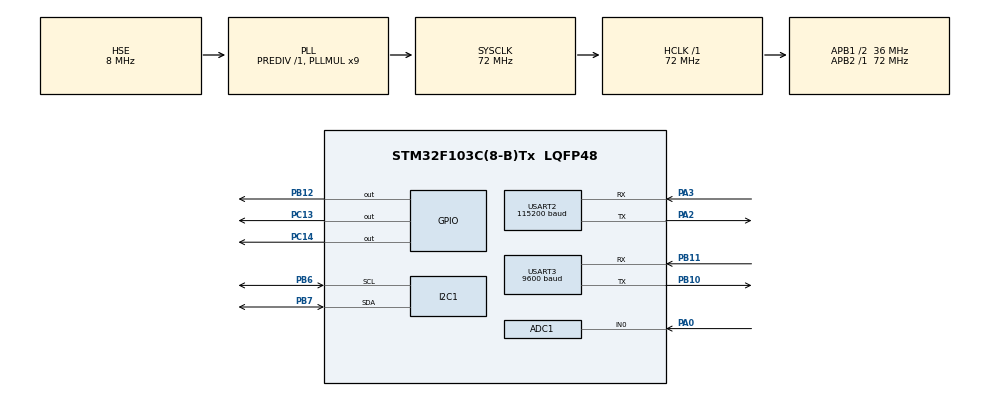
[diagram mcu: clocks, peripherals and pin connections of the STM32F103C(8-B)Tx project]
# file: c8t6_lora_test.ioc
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ADC1.Channel-0\#ChannelRegularConversion=ADC_CHANNEL_0
ADC1.ContinuousConvMode=ENABLE
ADC1.DataAlign=ADC_DATAALIGN_RIGHT
ADC1.DiscontinuousConvMode=DISABLE
ADC1.EnableAnalogWatchDog=false
ADC1.EnableRegularConversion=ENABLE
ADC1.ExternalTrigConv=ADC_SOFTWARE_START
ADC1.InjNumberOfConversion=0
ADC1.NbrOfConversion=1
ADC1.NbrOfConversionFlag=1
ADC1.Rank-0\#ChannelRegularConversion=1
ADC1.SamplingTime-0\#ChannelRegularConversion=ADC_SAMPLETIME_239CYCLES_5
ADC1.ScanConvMode=ADC_SCAN_DISABLE
ADC1.master=1
Dma.ADC1.0.Direction=DMA_PERIPH_TO_MEMORY
Dma.ADC1.0.Instance=DMA1_Channel1
Dma.ADC1.0.MemDataAlignment=DMA_MDATAALIGN_HALFWORD
Dma.ADC1.0.MemInc=DMA_MINC_ENABLE
Dma.ADC1.0.Mode=DMA_CIRCULAR
Dma.ADC1.0.PeriphDataAlignment=DMA_PDATAALIGN_HALFWORD
Dma.ADC1.0.PeriphInc=DMA_PINC_DISABLE
Dma.ADC1.0.Priority=DMA_PRIORITY_LOW
Dma.Request0=ADC1
I2C1.DutyCycle=I2C_DUTYCYCLE_16_9
I2C1.I2C_Mode=I2C_Fast
Mcu.Family=STM32F1
Mcu.Name=STM32F103C(8-B)Tx
Mcu.Package=LQFP48
NVIC.DMA1_Channel1_IRQn=true\:0\:0\:false\:false\:true\:false
NVIC.PriorityGroup=NVIC_PRIORITYGROUP_4
NVIC.TIM2_IRQn=true\:0\:0\:false\:false\:true\:true
NVIC.TIM3_IRQn=true\:0\:0\:false\:false\:true\:true
NVIC.USART2_IRQn=true\:0\:0\:false\:true\:true\:2\:true
NVIC.USART3_IRQn=true\:0\:0\:false\:true\:true\:1\:true
PA0-WKUP.Signal=ADCx_IN0
PA2.Mode=Asynchronous
PA2.Signal=USART2_TX
PA3.Mode=Asynchronous
PA3.Signal=USART2_RX
PB10.Mode=Asynchronous
PB10.Signal=USART3_TX
PB11.Mode=Asynchronous
PB11.Signal=USART3_RX
PB12.Signal=GPIO_Output
PB6.Mode=I2C
PB6.Signal=I2C1_SCL
PB7.Mode=I2C
PB7.Signal=I2C1_SDA
PC13-TAMPER-RTC.Signal=GPIO_Output
PC14-OSC32_IN.Signal=GPIO_Output
PD0-OSC_IN.Mode=HSE-External-Oscillator
PD0-OSC_IN.Signal=RCC_OSC_IN
PD1-OSC_OUT.Mode=HSE-External-Oscillator
PD1-OSC_OUT.Signal=RCC_OSC_OUT
ProjectManager.HeapSize=0x200
ProjectManager.StackSize=0x400
ProjectManager.TargetToolchain=TrueSTUDIO
RCC.ADCPresc=RCC_ADCPCLK2_DIV6
RCC.AHBFreq_Value=72000000
RCC.APB1CLKDivider=RCC_HCLK_DIV2
RCC.APB1Freq_Value=36000000
RCC.APB1TimFreq_Value=72000000
RCC.APB2Freq_Value=72000000
RCC.APB2TimFreq_Value=72000000
RCC.HCLKFreq_Value=72000000
RCC.PLLMUL=RCC_PLL_MUL9
RCC.PLLSourceVirtual=RCC_PLLSOURCE_HSE
RCC.SYSCLKFreq_VALUE=72000000
RCC.SYSCLKSource=RCC_SYSCLKSOURCE_PLLCLK
RCC.USBFreq_Value=72000000
SH.ADCx_IN0.0=ADC1_IN0,IN0
TIM2.Period=9999
TIM2.Prescaler=7199
TIM3.Period=4999
TIM3.Prescaler=7199
USART2.BaudRate=115200
USART2.VirtualMode=VM_ASYNC
USART3.BaudRate=9600
USART3.VirtualMode=VM_ASYNC
VP_ADC1_Vref_Input.Mode=IN-Vrefint
VP_SYS_VS_ND.Mode=No_Debug
VP_TIM2_VS_ClockSourceINT.Mode=Internal
VP_TIM3_VS_ClockSourceINT.Mode=Internal
board=c8t6_lora_test

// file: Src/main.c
/**
  ******************************************************************************
  * File Name          : main.c
  * Description        : Main program body
  ******************************************************************************
  ** This notice applies to any and all portions of this file
  * that are not between comment pairs USER CODE BEGIN and
  * USER CODE END. Other portions of this file, whether
  * inserted by the user or by software development tools
  * are owned by their respective copyright owners.
  *
  * COPYRIGHT(c) 2017 STMicroelectronics
  *
  * Redistribution and use in source and binary forms, with or without modification,
  * are permitted provided that the following conditions are met:
  *   1. Redistributions of source code must retain the above copyright notice,
  *      this list of conditions and the following disclaimer.
  *   2. Redistributions in binary form must reproduce the above copyright notice,
  *      this list of conditions and the following disclaimer in the documentation
  *      and/or other materials provided with the distribution.
  *   3. Neither the name of STMicroelectronics nor the names of its contributors
  *      may be used to endorse or promote products derived from this software
  *      without specific prior written permission.
  *
  * THIS SOFTWARE IS PROVIDED BY THE COPYRIGHT HOLDERS AND CONTRIBUTORS "AS IS"
  * AND ANY EXPRESS OR IMPLIED WARRANTIES, INCLUDING, BUT NOT LIMITED TO, THE
  * IMPLIED WARRANTIES OF MERCHANTABILITY AND FITNESS FOR A PARTICULAR PURPOSE ARE
  * DISCLAIMED. IN NO EVENT SHALL THE COPYRIGHT HOLDER OR CONTRIBUTORS BE LIABLE
  * FOR ANY DIRECT, INDIRECT, INCIDENTAL, SPECIAL, EXEMPLARY, OR CONSEQUENTIAL
  * DAMAGES (INCLUDING, BUT NOT LIMITED TO, PROCUREMENT OF SUBSTITUTE GOODS OR
  * SERVICES; LOSS OF USE, DATA, OR PROFITS; OR BUSINESS INTERRUPTION) HOWEVER
  * CAUSED AND ON ANY THEORY OF LIABILITY, WHETHER IN CONTRACT, STRICT LIABILITY,
  * OR TORT (INCLUDING NEGLIGENCE OR OTHERWISE) ARISING IN ANY WAY OUT OF THE USE
  * OF THIS SOFTWARE, EVEN IF ADVISED OF THE POSSIBILITY OF SUCH DAMAGE.
  *
  ******************************************************************************
  */
#include "main.h"
#include "stm32f1xx_hal.h"

/* USER CODE BEGIN Includes */
#include "userDelay.h"
#include "htu21d_i2c.h"

#include <string.h>
/* USER CODE END Includes */

ADC_HandleTypeDef hadc1;
DMA_HandleTypeDef hdma_adc1;

I2C_HandleTypeDef hi2c1;

TIM_HandleTypeDef htim2;
TIM_HandleTypeDef htim3;

UART_HandleTypeDef huart2;
UART_HandleTypeDef huart3;

/* USER CODE BEGIN PV */
/* Private variables ---------------------------------------------------------*/
volatile uint8_t	count = 0;
volatile uint8_t 	Rx_Data2[3];     // usart2 receive data
volatile uint8_t 	Rx_Data3[3];     // usart2 receive data
volatile uint32_t 	ADC_Data;
volatile uint8_t 	i2cTxData;    // i2c transmit data
volatile uint8_t	i2cRxData[3];    // i2c receive data
		 char		uadc[50];

/* USER CODE END PV */

void SystemClock_Config(void);
static void MX_GPIO_Init(void);
static void MX_DMA_Init(void);
static void MX_ADC1_Init(void);
static void MX_USART2_UART_Init(void);
static void MX_USART3_UART_Init(void);
static void MX_I2C1_Init(void);
static void MX_TIM2_Init(void);
static void MX_TIM3_Init(void);
static void MX_NVIC_Init(void);

/* USER CODE BEGIN PFP */
/* Private function prototypes -----------------------------------------------*/
void HAL_UART_RxCpltCallback(UART_HandleTypeDef *huart);
void HAL_TIM_PeriodElapsedCallback(TIM_HandleTypeDef *htim);

/* USER CODE END PFP */

/* USER CODE BEGIN 0 */
void HAL_UART_RxCpltCallback(UART_HandleTypeDef *huart)
{
	if(huart->Instance==USART2){
//		HAL_UART_Transmit(&huart2,(uint8_t *)&Rx_Data2, 1,1000);
		HAL_UART_Receive_IT(&huart2,(uint8_t *)&Rx_Data2, 1);
	}
	else if(huart->Instance==USART3){
//		HAL_UART_Transmit(&huart2,(uint8_t *)&Rx_Data3, 1,1000);
		HAL_UART_Receive_IT(&huart3,(uint8_t *)&Rx_Data3, 1);
	}
}

void HAL_TIM_PeriodElapsedCallback(TIM_HandleTypeDef *htim)
{
	if(htim->Instance==TIM2) {       // 1 sec interrupt
		HAL_GPIO_TogglePin(GPIOB, GPIO_PIN_12);
	}
	else if(htim->Instance==TIM3) {  // 0.5 sec interrupt
		HAL_GPIO_TogglePin(GPIOC, GPIO_PIN_13);
		if(count++==5)
		{
			count = 0;
			i2cTxData = (uint8_t)0xe3;

			while(HAL_I2C_Master_Transmit(&hi2c1,(uint16_t)HTDU21D_ADDRESS,(uint8_t *)&i2cTxData,1,1000)!=HAL_OK);
			delay_ms(50);
			while(HAL_I2C_Master_Receive (&hi2c1,(uint16_t)HTDU21D_ADDRESS,(uint8_t *)i2cRxData,6,1000)!=HAL_OK);
			double temp = -46.85 + 0.002681 * ((i2cRxData[0]<<8)|i2cRxData[1]);

			i2cTxData = (uint8_t)0xe5;
			while(HAL_I2C_Master_Transmit(&hi2c1,(uint16_t)HTDU21D_ADDRESS,(uint8_t *)&i2cTxData,1,1000)!=HAL_OK);
			delay_ms(16);
			while(HAL_I2C_Master_Receive (&hi2c1,(uint16_t)HTDU21D_ADDRESS,(uint8_t *)i2cRxData,3,1000)!=HAL_OK);

			double humi = -6.0 + 0.001907 * (((i2cRxData[0]<<8)|i2cRxData[1])^0x02);
		    sprintf(uadc,"!%8.2lf!%8.2lf , %6lu : %7.3f %%\r\n",temp,humi,ADC_Data,ADC_Data*0.02441406);
			HAL_UART_Transmit(&huart2,(uint8_t *)uadc, strlen(uadc),1000);
		}

	}
}

/* USER CODE END 0 */

int main(void)
{

  /* MCU Configuration----------------------------------------------------------*/

  /* Reset of all peripherals, Initializes the Flash interface and the Systick. */
  HAL_Init();

  /* Configure the system clock */
  SystemClock_Config();

  /* Initialize all configured peripherals */
  MX_GPIO_Init();
  MX_DMA_Init();
  MX_ADC1_Init();
  MX_USART2_UART_Init();
  MX_USART3_UART_Init();
  MX_I2C1_Init();
  MX_TIM2_Init();
  MX_TIM3_Init();

  /* Initialize interrupts */
  MX_NVIC_Init();

  /* USER CODE BEGIN 2 */
  HAL_Delay(3000);

  while(HAL_UART_Receive_IT(&huart2, (uint8_t *)Rx_Data2, 1)!=HAL_OK);
  while(HAL_UART_Receive_IT(&huart3, (uint8_t *)Rx_Data3, 1)!=HAL_OK);

  HAL_ADC_Start_DMA(&hadc1,(uint32_t *)&ADC_Data,1);

  while(HAL_TIM_Base_Start_IT(&htim2)!=HAL_OK);
  while(HAL_TIM_Base_Start_IT(&htim3)!=HAL_OK);

  HAL_UART_Transmit(&huart2,(uint8_t *)"Test!!!", 7,1000);

  /* USER CODE END 2 */

  /* Infinite loop */
  while (1)
  {

  /* USER CODE BEGIN 3 */
	    //sprintf(uadc,"%6lu : %7.3f %%\r\n",ADC_Data,ADC_Data*0.02441406);
		//HAL_UART_Transmit(&huart2,(uint8_t *)uadc, strlen(uadc),1000);
		//HAL_UART_Transmit(&huart2,(uint8_t *)"Test!!!", 7,1000);
		//HAL_Delay(1000);

  }
  /* USER CODE END 3 */

}

/** System Clock Configuration
*/
void SystemClock_Config(void)
{

  RCC_OscInitTypeDef RCC_OscInitStruct;
  RCC_ClkInitTypeDef RCC_ClkInitStruct;
  RCC_PeriphCLKInitTypeDef PeriphClkInit;

    /**Initializes the CPU, AHB and APB busses clocks
    */
  RCC_OscInitStruct.OscillatorType = RCC_OSCILLATORTYPE_HSE;
  RCC_OscInitStruct.HSEState = RCC_HSE_ON;
  RCC_OscInitStruct.HSEPredivValue = RCC_HSE_PREDIV_DIV1;
  RCC_OscInitStruct.HSIState = RCC_HSI_ON;
  RCC_OscInitStruct.PLL.PLLState = RCC_PLL_ON;
  RCC_OscInitStruct.PLL.PLLSource = RCC_PLLSOURCE_HSE;
  RCC_OscInitStruct.PLL.PLLMUL = RCC_PLL_MUL9;
  if (HAL_RCC_OscConfig(&RCC_OscInitStruct) != HAL_OK)
  {
    _Error_Handler(__FILE__, __LINE__);
  }

    /**Initializes the CPU, AHB and APB busses clocks
    */
  RCC_ClkInitStruct.ClockType = RCC_CLOCKTYPE_HCLK|RCC_CLOCKTYPE_SYSCLK
                              |RCC_CLOCKTYPE_PCLK1|RCC_CLOCKTYPE_PCLK2;
  RCC_ClkInitStruct.SYSCLKSource = RCC_SYSCLKSOURCE_PLLCLK;
  RCC_ClkInitStruct.AHBCLKDivider = RCC_SYSCLK_DIV1;
  RCC_ClkInitStruct.APB1CLKDivider = RCC_HCLK_DIV2;
  RCC_ClkInitStruct.APB2CLKDivider = RCC_HCLK_DIV1;

  if (HAL_RCC_ClockConfig(&RCC_ClkInitStruct, FLASH_LATENCY_2) != HAL_OK)
  {
    _Error_Handler(__FILE__, __LINE__);
  }

  PeriphClkInit.PeriphClockSelection = RCC_PERIPHCLK_ADC;
  PeriphClkInit.AdcClockSelection = RCC_ADCPCLK2_DIV6;
  if (HAL_RCCEx_PeriphCLKConfig(&PeriphClkInit) != HAL_OK)
  {
    _Error_Handler(__FILE__, __LINE__);
  }

    /**Configure the Systick interrupt time
    */
  HAL_SYSTICK_Config(HAL_RCC_GetHCLKFreq()/1000);

    /**Configure the Systick
    */
  HAL_SYSTICK_CLKSourceConfig(SYSTICK_CLKSOURCE_HCLK);

  /* SysTick_IRQn interrupt configuration */
  HAL_NVIC_SetPriority(SysTick_IRQn, 0, 0);
}

/** NVIC Configuration
*/
static void MX_NVIC_Init(void)
{
  /* USART3_IRQn interrupt configuration */
  HAL_NVIC_SetPriority(USART3_IRQn, 0, 0);
  HAL_NVIC_EnableIRQ(USART3_IRQn);
  /* USART2_IRQn interrupt configuration */
  HAL_NVIC_SetPriority(USART2_IRQn, 0, 0);
  HAL_NVIC_EnableIRQ(USART2_IRQn);
}

/* ADC1 init function */
static void MX_ADC1_Init(void)
{

  ADC_ChannelConfTypeDef sConfig;

    /**Common config
    */
  hadc1.Instance = ADC1;
  hadc1.Init.ScanConvMode = ADC_SCAN_DISABLE;
  hadc1.Init.ContinuousConvMode = ENABLE;
  hadc1.Init.DiscontinuousConvMode = DISABLE;
  hadc1.Init.ExternalTrigConv = ADC_SOFTWARE_START;
  hadc1.Init.DataAlign = ADC_DATAALIGN_RIGHT;
  hadc1.Init.NbrOfConversion = 1;
  if (HAL_ADC_Init(&hadc1) != HAL_OK)
  {
    _Error_Handler(__FILE__, __LINE__);
  }

    /**Configure Regular Channel
    */
  sConfig.Channel = ADC_CHANNEL_0;
  sConfig.Rank = 1;
  sConfig.SamplingTime = ADC_SAMPLETIME_239CYCLES_5;
  if (HAL_ADC_ConfigChannel(&hadc1, &sConfig) != HAL_OK)
  {
    _Error_Handler(__FILE__, __LINE__);
  }

}

/* I2C1 init function */
static void MX_I2C1_Init(void)
{

  hi2c1.Instance = I2C1;
  hi2c1.Init.ClockSpeed = 400000;
  hi2c1.Init.DutyCycle = I2C_DUTYCYCLE_16_9;
  hi2c1.Init.OwnAddress1 = 0;
  hi2c1.Init.AddressingMode = I2C_ADDRESSINGMODE_7BIT;
  hi2c1.Init.DualAddressMode = I2C_DUALADDRESS_DISABLE;
  hi2c1.Init.OwnAddress2 = 0;
  hi2c1.Init.GeneralCallMode = I2C_GENERALCALL_DISABLE;
  hi2c1.Init.NoStretchMode = I2C_NOSTRETCH_DISABLE;
  if (HAL_I2C_Init(&hi2c1) != HAL_OK)
  {
    _Error_Handler(__FILE__, __LINE__);
  }

}

/* TIM2 init function */
static void MX_TIM2_Init(void)
{

  TIM_ClockConfigTypeDef sClockSourceConfig;
  TIM_MasterConfigTypeDef sMasterConfig;

  htim2.Instance = TIM2;
  htim2.Init.Prescaler = 7199;
  htim2.Init.CounterMode = TIM_COUNTERMODE_UP;
  htim2.Init.Period = 9999;
  htim2.Init.ClockDivision = TIM_CLOCKDIVISION_DIV1;
  htim2.Init.AutoReloadPreload = TIM_AUTORELOAD_PRELOAD_DISABLE;
  if (HAL_TIM_Base_Init(&htim2) != HAL_OK)
  {
    _Error_Handler(__FILE__, __LINE__);
  }

  sClockSourceConfig.ClockSource = TIM_CLOCKSOURCE_INTERNAL;
  if (HAL_TIM_ConfigClockSource(&htim2, &sClockSourceConfig) != HAL_OK)
  {
    _Error_Handler(__FILE__, __LINE__);
  }

  sMasterConfig.MasterOutputTrigger = TIM_TRGO_RESET;
  sMasterConfig.MasterSlaveMode = TIM_MASTERSLAVEMODE_DISABLE;
  if (HAL_TIMEx_MasterConfigSynchronization(&htim2, &sMasterConfig) != HAL_OK)
  {
    _Error_Handler(__FILE__, __LINE__);
  }

}

/* TIM3 init function */
static void MX_TIM3_Init(void)
{

  TIM_ClockConfigTypeDef sClockSourceConfig;
  TIM_MasterConfigTypeDef sMasterConfig;

  htim3.Instance = TIM3;
  htim3.Init.Prescaler = 7199;
  htim3.Init.CounterMode = TIM_COUNTERMODE_UP;
  htim3.Init.Period = 4999;
  htim3.Init.ClockDivision = TIM_CLOCKDIVISION_DIV1;
  htim3.Init.AutoReloadPreload = TIM_AUTORELOAD_PRELOAD_DISABLE;
  if (HAL_TIM_Base_Init(&htim3) != HAL_OK)
  {
    _Error_Handler(__FILE__, __LINE__);
  }

  sClockSourceConfig.ClockSource = TIM_CLOCKSOURCE_INTERNAL;
  if (HAL_TIM_ConfigClockSource(&htim3, &sClockSourceConfig) != HAL_OK)
  {
    _Error_Handler(__FILE__, __LINE__);
  }

  sMasterConfig.MasterOutputTrigger = TIM_TRGO_RESET;
  sMasterConfig.MasterSlaveMode = TIM_MASTERSLAVEMODE_DISABLE;
  if (HAL_TIMEx_MasterConfigSynchronization(&htim3, &sMasterConfig) != HAL_OK)
  {
    _Error_Handler(__FILE__, __LINE__);
  }

}

/* USART2 init function */
static void MX_USART2_UART_Init(void)
{

  huart2.Instance = USART2;
  huart2.Init.BaudRate = 115200;
  huart2.Init.WordLength = UART_WORDLENGTH_8B;
  huart2.Init.StopBits = UART_STOPBITS_1;
  huart2.Init.Parity = UART_PARITY_NONE;
  huart2.Init.Mode = UART_MODE_TX_RX;
  huart2.Init.HwFlowCtl = UART_HWCONTROL_NONE;
  huart2.Init.OverSampling = UART_OVERSAMPLING_16;
  if (HAL_UART_Init(&huart2) != HAL_OK)
  {
    _Error_Handler(__FILE__, __LINE__);
  }

}

/* USART3 init function */
static void MX_USART3_UART_Init(void)
{

  huart3.Instance = USART3;
  huart3.Init.BaudRate = 9600;
  huart3.Init.WordLength = UART_WORDLENGTH_8B;
  huart3.Init.StopBits = UART_STOPBITS_1;
  huart3.Init.Parity = UART_PARITY_NONE;
  huart3.Init.Mode = UART_MODE_TX_RX;
  huart3.Init.HwFlowCtl = UART_HWCONTROL_NONE;
  huart3.Init.OverSampling = UART_OVERSAMPLING_16;
  if (HAL_UART_Init(&huart3) != HAL_OK)
  {
    _Error_Handler(__FILE__, __LINE__);
  }

}

static void MX_DMA_Init(void)
{
  /* DMA controller clock enable */
  __HAL_RCC_DMA1_CLK_ENABLE();

  /* DMA interrupt init */
  /* DMA1_Channel1_IRQn interrupt configuration */
  HAL_NVIC_SetPriority(DMA1_Channel1_IRQn, 0, 0);
  HAL_NVIC_EnableIRQ(DMA1_Channel1_IRQn);

}

/** Configure pins as
        * Analog
        * Input
        * Output
        * EVENT_OUT
        * EXTI
*/
static void MX_GPIO_Init(void)
{

  GPIO_InitTypeDef GPIO_InitStruct;

  /* GPIO Ports Clock Enable */
  __HAL_RCC_GPIOC_CLK_ENABLE();
  __HAL_RCC_GPIOD_CLK_ENABLE();
  __HAL_RCC_GPIOA_CLK_ENABLE();
  __HAL_RCC_GPIOB_CLK_ENABLE();

  /*Configure GPIO pin Output Level */
  HAL_GPIO_WritePin(GPIOC, GPIO_PIN_13|GPIO_PIN_14, GPIO_PIN_RESET);

  /*Configure GPIO pin Output Level */
  HAL_GPIO_WritePin(GPIOB, GPIO_PIN_12, GPIO_PIN_RESET);

  /*Configure GPIO pins : PC13 PC14 */
  GPIO_InitStruct.Pin = GPIO_PIN_13|GPIO_PIN_14;
  GPIO_InitStruct.Mode = GPIO_MODE_OUTPUT_PP;
  GPIO_InitStruct.Speed = GPIO_SPEED_FREQ_LOW;
  HAL_GPIO_Init(GPIOC, &GPIO_InitStruct);

  /*Configure GPIO pin : PB12 */
  GPIO_InitStruct.Pin = GPIO_PIN_12;
  GPIO_InitStruct.Mode = GPIO_MODE_OUTPUT_PP;
  GPIO_InitStruct.Speed = GPIO_SPEED_FREQ_LOW;
  HAL_GPIO_Init(GPIOB, &GPIO_InitStruct);

}

void _Error_Handler(char * file, int line)
{
  while(1)
  {
  }
}

/************************ (C) COPYRIGHT STMicroelectronics *****END OF FILE****/
